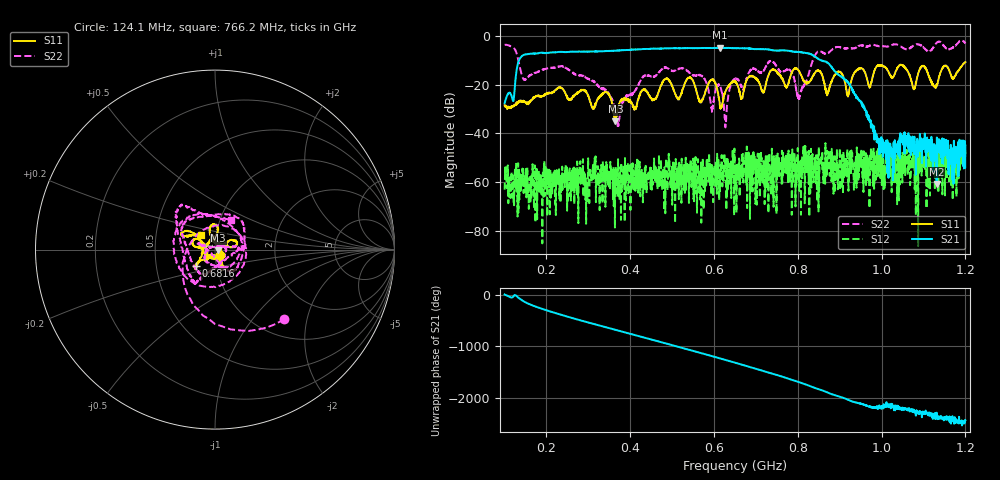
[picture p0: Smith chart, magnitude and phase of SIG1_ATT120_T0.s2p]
# Hz S DB R 50
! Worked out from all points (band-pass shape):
!   1601 points, 100 MHz to 1.2 GHz, reference 50 ohm
!   highest |S21| = -4.81 dB at 613.6 MHz (marker M1); lowest = -60.7 dB at 1.131 GHz (marker M2)
!   |S21| within 3 dB of the highest: 144.6 MHz to 835.8 MHz (691.2 MHz wide, 141 % of centre)
!   lowest |S11| = -35.0 dB at 364.7 MHz (marker M3), VSWR 1.04, Z = 51.8 - j0.294 ohm
!   |S11| at or under -10 dB: start of sweep to end of sweep
!   |S22| runs from -37.6 to -1.8 dB; largest |S21 - S12| = 0.58
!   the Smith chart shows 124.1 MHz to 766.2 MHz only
!   S11 on the Smith chart (normalised r, x): 124.1 MHz: 1.05, -0.06; 681.6 MHz: 0.79, -0.15; 766.2 MHz: 0.84, +0.14
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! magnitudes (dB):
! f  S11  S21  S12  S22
! 100 MHz  -28.4  -27.5  -63.1  -3.5
! 124.1 MHz  -28.4  -21.6  -57.1  -5.3
! 145.4 MHz  -27.1  -7.7  -64.5  -17.7
! 283.6 MHz  -22.3  -6.4  -58.2  -16.2
! 344.8 MHz  -23.2  -6.1  -55.0  -22.6
! 364.7 MHz  -35.0  -6.0  -64.0  -31.3
! 467.1 MHz  -23.3  -5.1  -54.8  -15.1
! 542.1 MHz  -16.9  -4.9  -53.4  -15.2
! 569.6 MHz  -27.2  -4.9  -76.7  -16.3
! 595.7 MHz  -17.7  -4.9  -63.0  -29.5
! 613.6 MHz  -28.2  -4.8  -63.9  -20.7
! 628 MHz  -22.6  -4.9  -58.6  -34.8
! 650 MHz  -18.8  -5.0  -54.1  -17.6
! 681.6 MHz  -17.0  -5.1  -58.2  -15.5
! 766.2 MHz  -18.8  -5.9  -52.3  -14.6
! 803.3 MHz  -14.5  -6.5  -63.7  -25.8
! 833.6 MHz  -17.4  -7.6  -53.4  -11.0
! 920.9 MHz  -24.3  -19.2  -63.6  -4.9
! 946.3 MHz  -13.4  -26.6  -49.0  -4.0
! 1.017 GHz  -14.9  -44.0  -48.0  -4.2
! 1.131 GHz  -19.8  -60.7  -49.2  -2.8
! 1.2 GHz  -10.7  -44.9  -48.6  -3.0
